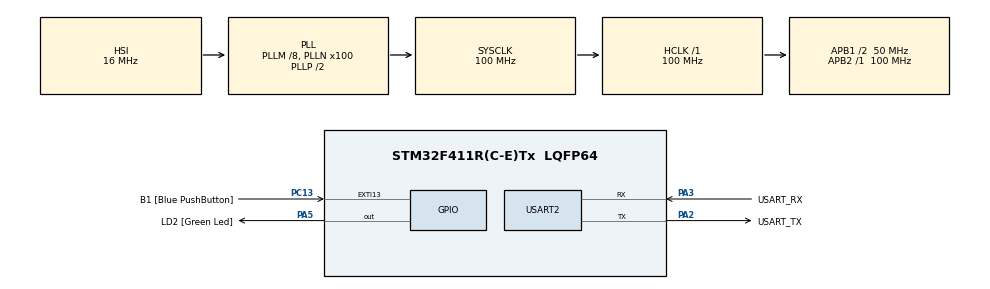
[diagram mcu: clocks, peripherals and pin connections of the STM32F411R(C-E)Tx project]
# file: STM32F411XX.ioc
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Mcu.Family=STM32F4
PC15-OSC32_OUT.Mode=LSE-External-Oscillator
RCC.CortexFreq_Value=100000000
PC13-ANTI_TAMP.GPIO_Label=B1 [Blue PushButton]
PA14.GPIO_Label=TCK
PH1\ -\ OSC_OUT.Mode=HSE-External-Clock-Source
VP_SYS_VS_tim5.Mode=TIM5
RCC.APB1CLKDivider=RCC_HCLK_DIV2
PC14-OSC32_IN.Signal=RCC_OSC32_IN
RCC.SYSCLKSource=RCC_SYSCLKSOURCE_PLLCLK
ProjectManager.StackSize=0x400
PA13.Signal=SYS_JTMS-SWDIO
PA3.Mode=Asynchronous
PH0\ -\ OSC_IN.Mode=HSE-External-Clock-Source
PH0\ -\ OSC_IN.Signal=RCC_OSC_IN
ProjectManager.TargetToolchain=STM32CubeIDE
NVIC.TIM5_IRQn=true\:0\:0\:false\:false\:true\:false\:true
RCC.HCLKFreq_Value=100000000
RCC.APB2TimFreq_Value=100000000
PC15-OSC32_OUT.Signal=RCC_OSC32_OUT
RCC.AHBFreq_Value=100000000
PA5.Signal=GPIO_Output
RCC.HSE_VALUE=8000000
PH1\ -\ OSC_OUT.Signal=RCC_OSC_OUT
board=NUCLEO-F411RE
PC13-ANTI_TAMP.Signal=GPXTI13
RCC.VCOOutputFreq_Value=200000000
RCC.APB2Freq_Value=100000000
PC14-OSC32_IN.Mode=LSE-External-Oscillator
PA14.Mode=Serial_Wire
PA13.Mode=Serial_Wire
Mcu.Name=STM32F411R(C-E)Tx
PA2.Signal=USART2_TX
PA13.GPIO_Label=TMS
RCC.FLatency-AdvancedSettings=FLASH_LATENCY_3
RCC.48MHZClocksFreq_Value=50000000
PB3.Signal=SYS_JTDO-SWO
RCC.SYSCLKFreq_VALUE=100000000
Mcu.Package=LQFP64
NVIC.TimeBase=TIM5_IRQn
PA5.GPIO_Label=LD2 [Green Led]
USART2.VirtualMode=VM_ASYNC
PC13-ANTI_TAMP.GPIO_ModeDefaultEXTI=GPIO_MODE_IT_FALLING
PA2.GPIO_Label=USART_TX
NVIC.TimeBaseIP=TIM5
PA14.Signal=SYS_JTCK-SWCLK
ProjectManager.HeapSize=0x200
RCC.HSI_VALUE=16000000
NVIC.PriorityGroup=NVIC_PRIORITYGROUP_4
RCC.PLLM=8
RCC.PLLN=100
RCC.APB1TimFreq_Value=100000000
PA2.Mode=Asynchronous
RCC.APB1Freq_Value=50000000
PA3.GPIO_Label=USART_RX
PA3.Signal=USART2_RX
PB3.GPIO_Label=SWO

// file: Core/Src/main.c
/* USER CODE BEGIN Header */
/**
  ******************************************************************************
  * @file           : main.c
  * @brief          : Main program body
  ******************************************************************************
  * @attention
  *
  * <h2><center>&copy; Copyright (c) 2022 STMicroelectronics.
  * All rights reserved.</center></h2>
  *
  * This software component is licensed by ST under BSD 3-Clause license,
  * the "License"; You may not use this file except in compliance with the
  * License. You may obtain a copy of the License at:
  *                        opensource.org/licenses/BSD-3-Clause
  *
  ******************************************************************************
  */
/* USER CODE END Header */
#include "main.h"
#include "usart.h"
#include "gpio.h"

/* USER CODE BEGIN Includes */
#include "os.h"

#define TASK00_PRIO						3
#define TASK00_STACK_SIZE                 512
OS_STK  task00_stack[TASK00_STACK_SIZE];
void task00(void *pdata);

void task00(void *pdata)
{
		//进入任务前，设置系统时钟参数
        OS_CPU_SysTickInitFreq(100*1000*1000);
        pdata = pdata;
        for (;;) {
        		//HAL_GPIO_TogglePin(LD2_GPIO_Port, LD2_Pin);
                HAL_GPIO_WritePin(LD2_GPIO_Port, LD2_Pin, GPIO_PIN_SET);
                OSTimeDly(100);
                HAL_GPIO_WritePin(LD2_GPIO_Port, LD2_Pin, GPIO_PIN_RESET);
                OSTimeDly(100);
        }
}

/* USER CODE END Includes */

void SystemClock_Config(void);

int main(void)
{

  /* MCU Configuration--------------------------------------------------------*/

  /* Reset of all peripherals, Initializes the Flash interface and the Systick. */
  HAL_Init();

  /* Configure the system clock */
  SystemClock_Config();

  /* Initialize all configured peripherals */
  MX_GPIO_Init();
  MX_USART2_UART_Init();

  /* Infinite loop */
  /* USER CODE BEGIN WHILE */
  OSInit();
  OSTaskCreate(
		  task00, 								//任务入口
		  (void *)0, 							//任务参数
		  &task00_stack[TASK00_STACK_SIZE - 1],	//任务栈顶
		  TASK00_PRIO	);						//任务优先级别
  OSStart();

  while (1)
  {
    /* USER CODE END WHILE */

  }
}

void SystemClock_Config(void)
{
  RCC_OscInitTypeDef RCC_OscInitStruct = {0};
  RCC_ClkInitTypeDef RCC_ClkInitStruct = {0};

  /** Configure the main internal regulator output voltage
  */
  __HAL_RCC_PWR_CLK_ENABLE();
  __HAL_PWR_VOLTAGESCALING_CONFIG(PWR_REGULATOR_VOLTAGE_SCALE1);
  /** Initializes the RCC Oscillators according to the specified parameters
  * in the RCC_OscInitTypeDef structure.
  */
  RCC_OscInitStruct.OscillatorType = RCC_OSCILLATORTYPE_HSI;
  RCC_OscInitStruct.HSIState = RCC_HSI_ON;
  RCC_OscInitStruct.HSICalibrationValue = RCC_HSICALIBRATION_DEFAULT;
  RCC_OscInitStruct.PLL.PLLState = RCC_PLL_ON;
  RCC_OscInitStruct.PLL.PLLSource = RCC_PLLSOURCE_HSI;
  RCC_OscInitStruct.PLL.PLLM = 8;
  RCC_OscInitStruct.PLL.PLLN = 100;
  RCC_OscInitStruct.PLL.PLLP = RCC_PLLP_DIV2;
  RCC_OscInitStruct.PLL.PLLQ = 4;
  if (HAL_RCC_OscConfig(&RCC_OscInitStruct) != HAL_OK)
  {
    Error_Handler();
  }
  /** Initializes the CPU, AHB and APB buses clocks
  */
  RCC_ClkInitStruct.ClockType = RCC_CLOCKTYPE_HCLK|RCC_CLOCKTYPE_SYSCLK
                              |RCC_CLOCKTYPE_PCLK1|RCC_CLOCKTYPE_PCLK2;
  RCC_ClkInitStruct.SYSCLKSource = RCC_SYSCLKSOURCE_PLLCLK;
  RCC_ClkInitStruct.AHBCLKDivider = RCC_SYSCLK_DIV1;
  RCC_ClkInitStruct.APB1CLKDivider = RCC_HCLK_DIV2;
  RCC_ClkInitStruct.APB2CLKDivider = RCC_HCLK_DIV1;

  if (HAL_RCC_ClockConfig(&RCC_ClkInitStruct, FLASH_LATENCY_3) != HAL_OK)
  {
    Error_Handler();
  }
}

 /**
  * @brief  Period elapsed callback in non blocking mode
  * @note   This function is called  when TIM5 interrupt took place, inside
  * HAL_TIM_IRQHandler(). It makes a direct call to HAL_IncTick() to increment
  * a global variable "uwTick" used as application time base.
  * @param  htim : TIM handle
  * @retval None
  */
void HAL_TIM_PeriodElapsedCallback(TIM_HandleTypeDef *htim)
{
  if (htim->Instance == TIM5) {
    HAL_IncTick();
  }
}

void Error_Handler(void)
{
  __disable_irq();
  while (1)
  {
  }
}

/************************ (C) COPYRIGHT STMicroelectronics *****END OF FILE****/
